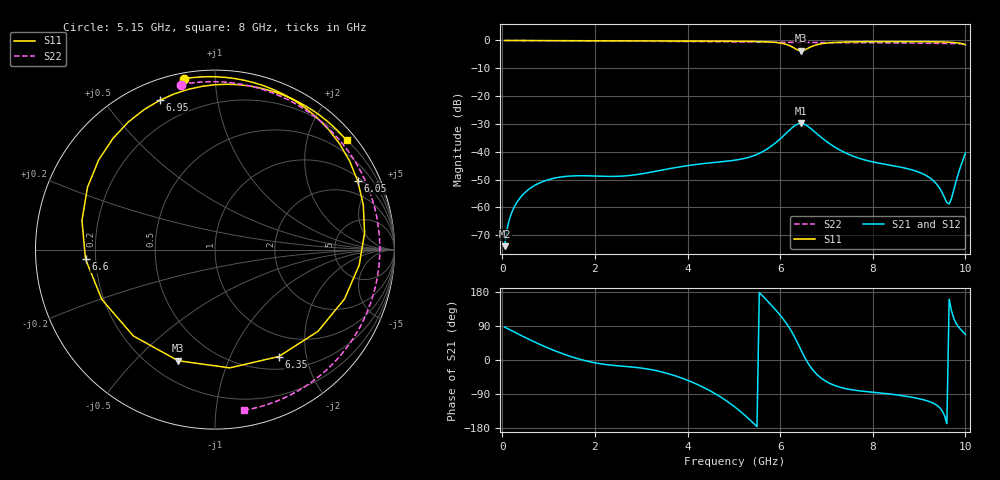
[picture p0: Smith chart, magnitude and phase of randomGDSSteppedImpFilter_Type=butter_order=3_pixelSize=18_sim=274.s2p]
! freq	dB(S11)	phase(S11)	dB(S12)	phase(S12)
!  dB(S21)	phase(S21)	dB(S22)	phase(S22)
!S-par simulation data
#  GHz  S  DB  R 50
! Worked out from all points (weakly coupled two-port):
!   200 points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, 50 MHz to 10 GHz, reference 50 ohm
!   highest |S21| = -29.81 dB at 6.45 GHz (marker M1); lowest = -73.9 dB at 50 MHz (marker M2)
!   lowest |S11| = -3.7 dB at 6.45 GHz (marker M3), VSWR 4.75, Z = 15.6 - j33.7 ohm
!   |S11| at or under -10 dB: nowhere
!   |S22| runs from -1.2 to 0.0 dB; largest |S21 - S12| = 0
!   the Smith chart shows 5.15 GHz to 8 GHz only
!   S11 on the Smith chart (normalised r, x): 5.15 GHz: 0.03, +0.84; 6.05 GHz: 1.18, +4.07; 6.35 GHz: 0.67, -1.55; 6.6 GHz: 0.16, -0.04; 6.95 GHz: 0.09, +0.69; 8 GHz: 0.21, +2.75
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0.05  -0.00 -3.6  -73.90 86.8  -73.90 86.8  -0.00 -2.8
0.2  -0.02 -14.2  -61.98 77.4  -61.98 77.4  -0.02 -11.1
0.5  -0.04 -34.9  -54.48 59.0  -54.48 59.0  -0.03 -27.4
1.1  -0.08 -73.7  -49.55 26.1  -49.55 26.1  -0.08 -59.3
1.75  -0.12 -110.4  -48.59 -0.6  -48.59 -0.6  -0.13 -91.9
3.4  -0.17 175.2  -46.71 -30.2  -46.71 -30.2  -0.29 -168.6
4.2  -0.20 142.7  -44.51 -63.9  -44.51 -63.9  -0.40 153.1
5.05  -0.27 105.2  -42.94 -126.7  -42.94 -126.7  -0.53 107.5
5.15  -0.29 100.1  -42.65 -136.7  -42.65 -136.7  -0.55 101.6
5.7  -0.49 65.6  -39.18 159.1  -39.18 159.1  -0.63 67.7
6.05  -1.09 25.7  -34.60 110.6  -34.60 110.6  -0.68 44.7
6.2  -1.85 -6.1  -32.21 84.6  -32.21 84.6  -0.70 34.7
6.35  -3.18 -59.2  -30.25 51.6  -30.25 51.6  -0.72 24.6
6.45  -3.71 -108.3  -29.81 26.5  -29.81 26.5  -0.72 17.8
6.6  -2.81 -175.8  -30.85 -7.9  -30.85 -7.9  -0.73 7.7
6.7  -2.04 153.9  -32.17 -25.4  -32.17 -25.4  -0.74 1.0
6.95  -1.04 110.3  -35.64 -53.3  -35.64 -53.3  -0.75 -15.6
8  -0.42 39.7  -43.63 -85.0  -43.63 -85.0  -0.82 -79.7
8.35  -0.40 24.1  -44.73 -89.5  -44.73 -89.5  -0.86 -98.8
9.2  -0.44 -11.7  -49.00 -108.8  -49.00 -108.8  -1.00 -142.0
9.65  -0.63 -34.0  -58.72 160.5  -58.72 160.5  -1.10 -164.2
10  -1.57 -64.3  -40.46 67.4  -40.46 67.4  -1.19 178.2
